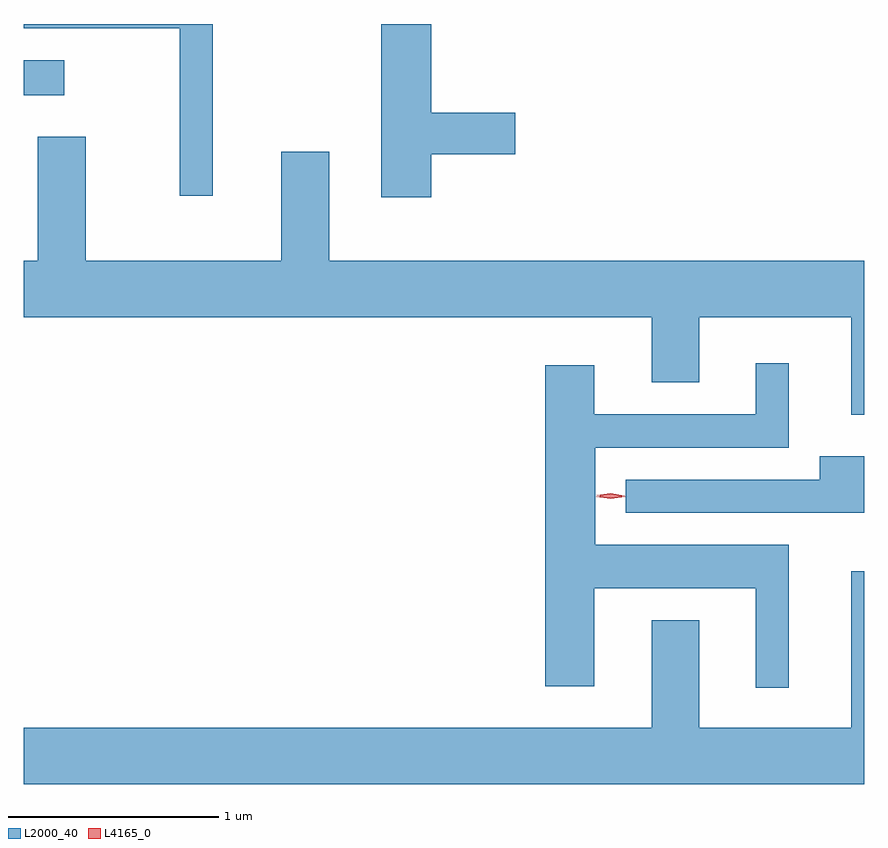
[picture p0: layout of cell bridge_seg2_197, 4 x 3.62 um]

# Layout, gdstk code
import gdstk
lib = gdstk.Library(unit=1e-6, precision=1e-09)
def R(c, l, rs):  # rectangles x0, y0, x1, y1
    for r in rs: c.add(gdstk.rectangle(r[:2], r[2:], *l))
def P(c, l, *ps):  # polygons
    for p in ps: c.add(gdstk.Polygon(p, *l))
L2000_40 = (2000, 40)
L4165_0 = (4165, 0)

bridge_seg2_197 = lib.new_cell('bridge_seg2_197')
R(bridge_seg2_197, L2000_40, [(885.844,1038.271,886.038,1038.439)])
P(bridge_seg2_197, L2000_40, [(887.784,1037.991),(888.184,1037.991),(888.184,1038.189),(887.784,1038.189),(887.784,1038.611),(887.546,1038.611),(887.546,1037.786),(887.784,1037.786)],
  [(886.744,1038.611),(885.844,1038.611),(885.844,1038.591),(886.586,1038.591),(886.586,1037.793),(886.744,1037.793)],
  [(885.911,1038.074),(885.911,1037.484),(885.844,1037.484),(885.844,1037.216),(888.831,1037.216),(888.831,1036.906),(889.059,1036.906),(889.059,1037.216),(889.781,1037.216),(889.781,1036.753),(889.844,1036.753),(889.844,1037.484),(887.299,1037.484),(887.299,1038.004),(887.071,1038.004),(887.071,1037.484),(886.139,1037.484),(886.139,1038.074)],
  [(889.484,1036.134),(888.564,1036.134),(888.564,1036.596),(889.484,1036.596),(889.484,1036.998),(889.326,1036.998),(889.326,1036.754),(888.559,1036.754),(888.559,1036.989),(888.326,1036.989),(888.326,1035.461),(888.559,1035.461),(888.559,1035.926),(889.326,1035.926),(889.326,1035.453),(889.484,1035.453)],
  [(889.844,1036.554),(889.631,1036.554),(889.631,1036.444),(888.708,1036.444),(888.708,1036.286),(889.844,1036.286)],
  [(889.844,1036.007),(889.781,1036.007),(889.781,1035.264),(889.059,1035.264),(889.059,1035.774),(888.831,1035.774),(888.831,1035.264),(885.844,1035.264),(885.844,1034.996),(889.844,1034.996)])
P(bridge_seg2_197, L4165_0, [(888.636,1036.359),(888.571,1036.369),(888.57,1036.369),(888.571,1036.37),(888.637,1036.378),(888.702,1036.368),(888.703,1036.368),(888.702,1036.367)],
  [(888.637,1036.352),(888.568,1036.362),(888.567,1036.362),(888.568,1036.363),(888.637,1036.372),(888.706,1036.363),(888.706,1036.362),(888.706,1036.362)])

lib.write_gds('bridge_seg2_197.gds')
